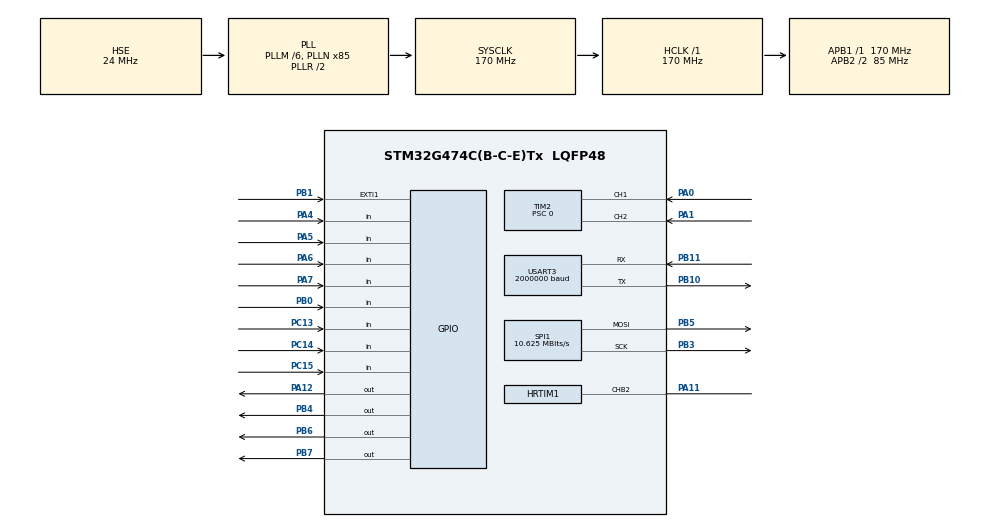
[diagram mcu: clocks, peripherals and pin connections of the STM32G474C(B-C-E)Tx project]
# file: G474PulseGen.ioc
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Dma.Request0=SPI1_TX
Dma.Request1=USART3_TX
Dma.SPI1_TX.0.Direction=DMA_MEMORY_TO_PERIPH
Dma.SPI1_TX.0.EventEnable=DISABLE
Dma.SPI1_TX.0.Instance=DMA1_Channel1
Dma.SPI1_TX.0.MemDataAlignment=DMA_MDATAALIGN_BYTE
Dma.SPI1_TX.0.MemInc=DMA_MINC_ENABLE
Dma.SPI1_TX.0.Mode=DMA_NORMAL
Dma.SPI1_TX.0.PeriphDataAlignment=DMA_PDATAALIGN_BYTE
Dma.SPI1_TX.0.PeriphInc=DMA_PINC_DISABLE
Dma.SPI1_TX.0.Polarity=HAL_DMAMUX_REQ_GEN_RISING
Dma.SPI1_TX.0.Priority=DMA_PRIORITY_LOW
Dma.SPI1_TX.0.RequestNumber=1
Dma.SPI1_TX.0.SignalID=NONE
Dma.SPI1_TX.0.SyncEnable=DISABLE
Dma.SPI1_TX.0.SyncPolarity=HAL_DMAMUX_SYNC_NO_EVENT
Dma.SPI1_TX.0.SyncRequestNumber=1
Dma.SPI1_TX.0.SyncSignalID=NONE
Dma.USART3_TX.1.Direction=DMA_MEMORY_TO_PERIPH
Dma.USART3_TX.1.EventEnable=DISABLE
Dma.USART3_TX.1.Instance=DMA1_Channel2
Dma.USART3_TX.1.MemDataAlignment=DMA_MDATAALIGN_BYTE
Dma.USART3_TX.1.MemInc=DMA_MINC_ENABLE
Dma.USART3_TX.1.Mode=DMA_NORMAL
Dma.USART3_TX.1.PeriphDataAlignment=DMA_PDATAALIGN_BYTE
Dma.USART3_TX.1.PeriphInc=DMA_PINC_DISABLE
Dma.USART3_TX.1.Polarity=HAL_DMAMUX_REQ_GEN_RISING
Dma.USART3_TX.1.Priority=DMA_PRIORITY_LOW
Dma.USART3_TX.1.RequestNumber=1
Dma.USART3_TX.1.SignalID=NONE
Dma.USART3_TX.1.SyncEnable=DISABLE
Dma.USART3_TX.1.SyncPolarity=HAL_DMAMUX_SYNC_NO_EVENT
Dma.USART3_TX.1.SyncRequestNumber=1
Dma.USART3_TX.1.SyncSignalID=NONE
HRTIM1.BurstMode-Output_TB2=HRTIM_TIMERBURSTMODE_MAINTAINCLOCK
HRTIM1.ChopperModeconfig-Output_TB2=__NULL
HRTIM1.CompareUnit1-Output_TB2=HRTIM_COMPAREUNIT_1
HRTIM1.CompareUnit2-Output_TB2=HRTIM_COMPAREUNIT_2
HRTIM1.CompareUnit3-Output_TB2=HRTIM_COMPAREUNIT_3
HRTIM1.CompareUnit4-Output_TB2=HRTIM_COMPAREUNIT_4
HRTIM1.CompareValue1-Output_TB2=0
HRTIM1.CompareValue2-Output_TB2=5435
HRTIM1.CompareValue3-Output_TB2=6000
HRTIM1.CompareValue4-Output_TB2=8000
HRTIM1.Enable=HRTIM_BURSTMODECTL_DISABLED
HRTIM1.Event4-Output_TB2=__NULL
HRTIM1.Event5-Output_TB2=__NULL
HRTIM1.EventEnableA-Output_TB2=__NULL
HRTIM1.Event_EEV1=__NULL
HRTIM1.Event_EEV2=__NULL
HRTIM1.Event_EEV3=__NULL
HRTIM1.Event_EEV4=__NULL
HRTIM1.Event_EEV5=__NULL
HRTIM1.ModeTimeBase-Output_TB2=HRTIM_MODE_SINGLESHOT
HRTIM1.NumberInterruptRequests-Output_TB2=0
HRTIM1.NumberResetSource2-Output_TB2=2
HRTIM1.NumberResetTrigger-Output_TB2=0
HRTIM1.NumberSetSource2-Output_TB2=2
HRTIM1.NumberUpdateTrigger-Output_TB2=0
HRTIM1.Periode_TB=65503
HRTIM1.Polarity2-Output_TB2=HRTIM_OUTPUTPOLARITY_HIGH
HRTIM1.PreloadEnable-Output_TB2=HRTIM_PRELOAD_DISABLED
HRTIM1.RepetitionCounter-Output_TB2=0
HRTIM1.RepetitionUpdate-Output_TB2=HRTIM_UPDATEONREPETITION_DISABLED
HRTIM1.ResetOnSync-Output_TB2=HRTIM_SYNCRESET_DISABLED
HRTIM1.ResetOutput2_Source1-Output_TB2=HRTIM_OUTPUTRESET_TIMCMP2
HRTIM1.ResetOutput2_Source2-Output_TB2=HRTIM_OUTPUTRESET_TIMCMP4
HRTIM1.ResetUpdate-Output_TB2=HRTIM_TIMUPDATEONRESET_DISABLED
HRTIM1.SetOutput2_Source1-Output_TB2=HRTIM_OUTPUTSET_TIMCMP1
HRTIM1.SetOutput2_Source2-Output_TB2=HRTIM_OUTPUTSET_TIMCMP3
HRTIM1.StartOnSync-Output_TB2=HRTIM_SYNCSTART_DISABLED
HRTIM1.SyncOptions=HRTIM_SYNCOPTION_NONE
Mcu.Family=STM32G4
Mcu.Name=STM32G474C(B-C-E)Tx
Mcu.Package=LQFP48
NVIC.DMA1_Channel1_IRQn=true\:0\:0\:false\:false\:true\:false\:true\:true
NVIC.DMA1_Channel2_IRQn=true\:3\:0\:true\:false\:true\:false\:true\:true
NVIC.EXTI1_IRQn=true\:0\:0\:false\:false\:true\:true\:true\:true
NVIC.HRTIM1_Master_IRQn=true\:0\:0\:false\:false\:true\:true\:true\:true
NVIC.HRTIM1_TIMB_IRQn=true\:0\:0\:false\:false\:true\:true\:true\:true
NVIC.PriorityGroup=NVIC_PRIORITYGROUP_4
NVIC.SPI1_IRQn=true\:0\:0\:false\:false\:true\:true\:true\:true
NVIC.TIM1_UP_TIM16_IRQn=true\:0\:0\:false\:false\:true\:true\:true\:true
NVIC.TIM5_IRQn=true\:0\:0\:false\:false\:true\:true\:true\:true
NVIC.TIM6_DAC_IRQn=true\:0\:0\:false\:false\:true\:true\:true\:true
NVIC.TIM7_DAC_IRQn=true\:0\:0\:false\:false\:true\:true\:true\:true
NVIC.USART3_IRQn=true\:3\:0\:true\:false\:true\:true\:true\:true
PA0.Signal=S_TIM2_CH1
PA1.Signal=S_TIM2_CH2
PA10.Signal=HRTIM1_CHB1
PA11.Mode=Output_TB2
PA11.Signal=HRTIM1_CHB2
PA12.PinState=GPIO_PIN_RESET
PA12.Signal=GPIO_Output
PA13.Mode=Serial_Wire
PA13.Signal=SYS_JTMS-SWDIO
PA14.Mode=Serial_Wire
PA14.Signal=SYS_JTCK-SWCLK
PA4.Signal=GPIO_Input
PA5.Signal=GPIO_Input
PA6.Signal=GPIO_Input
PA7.Signal=GPIO_Input
PA8.Signal=HRTIM1_CHA1
PA9.Signal=HRTIM1_CHA2
PB0.Signal=GPIO_Input
PB1.GPIO_ModeDefaultEXTI=GPIO_MODE_IT_FALLING
PB1.Signal=GPXTI1
PB10.GPIO_ModeDefaultPP=GPIO_MODE_AF_PP
PB10.GPIO_PuPd=GPIO_PULLUP
PB10.GPIO_Speed=GPIO_SPEED_FREQ_LOW
PB10.Mode=Asynchronous
PB10.Signal=USART3_TX
PB11.GPIO_ModeDefaultPP=GPIO_MODE_AF_PP
PB11.GPIO_PuPd=GPIO_PULLUP
PB11.GPIO_Speed=GPIO_SPEED_FREQ_LOW
PB11.Mode=Asynchronous
PB11.Signal=USART3_RX
PB14.Signal=HRTIM1_CHD1
PB15.Signal=HRTIM1_CHD2
PB3.Mode=TX_Only_Simplex_Unidirect_Master
PB3.Signal=SPI1_SCK
PB4.GPIO_Speed=GPIO_SPEED_FREQ_HIGH
PB4.Signal=GPIO_Output
PB5.Mode=TX_Only_Simplex_Unidirect_Master
PB5.Signal=SPI1_MOSI
PB6.GPIO_Speed=GPIO_SPEED_FREQ_HIGH
PB6.Signal=GPIO_Output
PB7.GPIO_Speed=GPIO_SPEED_FREQ_HIGH
PB7.Signal=GPIO_Output
PC13.Signal=GPIO_Input
PC14-OSC32_IN.Signal=GPIO_Input
PC15-OSC32_OUT.Signal=GPIO_Input
PF0-OSC_IN.Mode=HSE-External-Oscillator
PF0-OSC_IN.Signal=RCC_OSC_IN
PF1-OSC_OUT.Mode=HSE-External-Oscillator
PF1-OSC_OUT.Signal=RCC_OSC_OUT
ProjectManager.HeapSize=0x200
ProjectManager.StackSize=0x400
ProjectManager.TargetToolchain=CMake
RCC.ADC12Freq_Value=170000000
RCC.ADC345Freq_Value=170000000
RCC.AHBFreq_Value=170000000
RCC.APB1Freq_Value=170000000
RCC.APB1TimFreq_Value=170000000
RCC.APB2CLKDivider=RCC_HCLK_DIV2
RCC.APB2Freq_Value=85000000
RCC.APB2TimFreq_Value=170000000
RCC.CortexFreq_Value=170000000
RCC.EXTERNAL_CLOCK_VALUE=12288000
RCC.HCLKFreq_Value=170000000
RCC.HSE_VALUE=24000000
RCC.HSI48_VALUE=48000000
RCC.HSI_VALUE=16000000
RCC.LSE_VALUE=32768
RCC.PLLM=RCC_PLLM_DIV6
RCC.PLLN=85
RCC.PLLSourceVirtual=RCC_PLLSOURCE_HSE
RCC.SYSCLKFreq_VALUE=170000000
RCC.SYSCLKSource=RCC_SYSCLKSOURCE_PLLCLK
RCC.USBFreq_Value=170000000
RCC.VCOOutputFreq_Value=340000000
SH.S_TIM2_CH1.0=TIM2_CH1,Encoder_Interface
SH.S_TIM2_CH2.0=TIM2_CH2,Encoder_Interface
SPI1.BaudRatePrescaler=SPI_BAUDRATEPRESCALER_8
SPI1.CalculateBaudRate=10.625 MBits/s
SPI1.DataSize=SPI_DATASIZE_8BIT
SPI1.Direction=SPI_DIRECTION_2LINES
SPI1.Mode=SPI_MODE_MASTER
SPI1.VirtualType=VM_MASTER
TIM16.PeriodNoDither=40000
TIM16.Prescaler=2719
TIM2.IC1Polarity=TIM_ICPOLARITY_FALLING
TIM2.Prescaler=0
TIM5.AutoReloadPreload=TIM_AUTORELOAD_PRELOAD_ENABLE
TIM5.Channel-Output\ Compare1\ No\ Output=TIM_CHANNEL_1
TIM6.PeriodNoDither=55554
TIM6.Prescaler=33
TIM7.PeriodNoDither=33999
TIM7.Prescaler=4
USART3.BaudRate=2000000
USART3.DMADisableonRxErrorParam=ADVFEATURE_DMA_ENABLEONRXERROR
USART3.OverrunDisableParam=ADVFEATURE_OVERRUN_ENABLE
USART3.VirtualMode-Asynchronous=VM_ASYNC
VP_SYS_VS_DBSignals.Mode=DisableDeadBatterySignals
VP_TIM16_VS_ClockSourceINT.Mode=Enable_Timer
VP_TIM5_VS_ClockSourceINT.Mode=Internal
VP_TIM5_VS_no_output1.Mode=Output Compare1 No Output
VP_TIM6_VS_ClockSourceINT.Mode=Enable_Timer
VP_TIM7_VS_ClockSourceINT.Mode=Enable_Timer
board=custom

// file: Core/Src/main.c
/* USER CODE BEGIN Header */
/**
  ******************************************************************************
  * @file           : main.c
  * @brief          : Main program body
  ******************************************************************************
  * @attention
  *
  * Copyright (c) 2025 STMicroelectronics.
  * All rights reserved.
  *
  * This software is licensed under terms that can be found in the LICENSE file
  * in the root directory of this software component.
  * If no LICENSE file comes with this software, it is provided AS-IS.
  *
  ******************************************************************************
  */
/* USER CODE END Header */
#include "main.h"
#include "dma.h"
#include "hrtim.h"
#include "spi.h"
#include "tim.h"
#include "usart.h"
#include "gpio.h"

/* USER CODE BEGIN Includes */
#include "OLED.h"
#include "WouoUI.h"
#include "WouoUI_user.h"
#include "Key.h"
#include "Pulse.h"
#include "usart.h"
#include "uart_comm.h"
/* USER CODE END Includes */

/* USER CODE BEGIN PV */
/* 以下三个标志仅 main.c 内部使用 (定时器 ISR 与主循环同属一个编译单元),
 * 加 static 不影响其 volatile 语义 —— volatile 保证不被缓存, static 只改变
 * 链接可见性, 两者相互独立。 */
static volatile bool display_update_flag = 1;
static volatile bool waiting_for_trg_flag = 0;
static volatile bool triggered = 0;
volatile bool g_12v_enable = true;       /* 12V_OUT 手动开关状态 (Setting 页切换, 默认使能);
                                            被 uart_comm.c 与 WouoUI_user.c 引用, 不可加 static */

/* 注: 原此处有 7 条 UI Option[] 数组的 extern, 与 WouoUI_user.h 中的声明完全
 * 重复 (本文件已 include WouoUI_user.h), 已删除。 */
/* 计数器差分 (仅本文件使用) */
static int32_t last_count = 0;
static int32_t current_count = 0;
static int32_t diff = 0;
// volatile bool OLED_UPDATE_DONE = true;
/* USER CODE END PV */

void SystemClock_Config(void);

int main(void)
{

  /* MCU Configuration--------------------------------------------------------*/

  /* Reset of all peripherals, Initializes the Flash interface and the Systick. */
  HAL_Init();

  /* Configure the system clock */
  SystemClock_Config();

  /* Initialize all configured peripherals */
  MX_GPIO_Init();
  MX_DMA_Init();
  MX_HRTIM1_Init();
  MX_TIM2_Init();
  MX_SPI1_Init();
  MX_TIM6_Init();
  MX_TIM7_Init();
  MX_TIM16_Init();
  MX_TIM5_Init();
  MX_USART3_UART_Init();
  /* USER CODE BEGIN 2 */

  HAL_TIM_Base_Start_IT(&htim6); //打开为屏幕定时刷新的定时器中断
  HAL_TIM_Base_Start_IT(&htim7); //打开为按键定时刷新的定时器中断
  HAL_TIM_Base_Start_IT(&htim16); //打开为输出状态刷新的定时器中断
  HAL_TIM_Encoder_Start(&htim2, TIM_CHANNEL_ALL);
  // 触发中断拉到最高优先级 0
  HAL_NVIC_SetPriority(EXTI1_IRQn, 0, 0);
  // 长脉冲软件翻转次之
  HAL_NVIC_SetPriority(TIM5_IRQn, 1, 0);
  // 按键与状态检测
  HAL_NVIC_SetPriority(TIM7_DAC_IRQn, 2, 0);
  HAL_NVIC_SetPriority(TIM1_UP_TIM16_IRQn, 2, 1);
  // USART3 接收(SCPI 命令): 提至优先级 2, 高于刷屏(3), 防 2Mbps 下 RXNE 被刷屏中断抢占致 ORE 丢字节
  HAL_NVIC_SetPriority(USART3_IRQn, 2, 0);
  // 刷屏与 DMA 降至最低优先级 3，绝不阻塞发波
  HAL_NVIC_SetPriority(DMA1_Channel1_IRQn, 3, 0);
  HAL_NVIC_SetPriority(SPI1_IRQn, 3, 1);
  HAL_NVIC_SetPriority(TIM6_DAC_IRQn, 3, 2);

  OLED_Init();
  WouoUI_AttachSendBuffFun(OLED_Update_DisplayBuf);

  TestUI_Init();

  /* Y7 SYNC OUT (Timer C CH2) + Y8 帧标记 + PRF 猝发重复时基 (TIM3) 初始化 */
  Pulse_Sync_Init();
  Pulse_BurstPRF_Init();
  Pulse_Fault_Init();    /* PA15 = HRTIM_FLT2 硬件故障封锁 */
  UartComm_Init();       /* PC 通信协议层初始化 (镜像推流 + SCPI + 虚拟按键) */

  // 默认保持 12V 负载开关关断，待供电稳定后再开启
  LOADSW_DISABLE();
  /* USER CODE END 2 */

  /* Infinite loop */
  while (1)
  {

    /* USER CODE BEGIN 3 */
    /* 硬件 Fault 发生后: ISR 只置标志, 此处做 UI 收尾 (关 Enable 按钮 + 弹窗) */
    if (g_fault_flag)
    {
      g_fault_flag = false;
      Pulse_Fault_HandleUI();
    }

    /* 12V_OUT 互锁 (与逻辑): 只有「LTC4421 检测到任一电源有效」且「用户已使能」
     * 两者同时成立时才导通 PA12; 任一不成立立即关断 (安全优先)。
     *
     * 电气极性 (严格对应 HARDWARE.md §5.3):
     *   - LTC_IS_ANY_PWR_VALID() = PC14/PC15 读到 HIGH 即有效 (经 Q6/Q7 倒相后接入);
     *   - LOADSW_ENABLE()        = PA12 输出 HIGH 才导通 (TPS22810 高有效)。
     *   注意这里的极性关系是"电源有效为高、开关使能为高", 不要凭 MAX6818 或
     *   LTC4421 的其它状态脚极性类比推断。
     *
     * 响应速度: 本处是**掉电场景唯一**的切断点, 且只能做到主循环级延迟 (非 ISR 级)。
     * ns 级的波形保护由 HRTIM FLT2 硬件路径 + Pulse_EmergencyStop() 承担, 两者
     * 场景不同: 本处负责"电源本身掉电", 硬件 Fault 负责"外部故障信号拉低 PA15"。
     *
     * g_12v_enable 由 UI (Setting 页) 与 SCPI (12V:ON/OFF) 写入, 故为 volatile。 */
    if (LTC_IS_ANY_PWR_VALID() && g_12v_enable)
    {
      LOADSW_ENABLE();
    }
    else
    {
      LOADSW_DISABLE();
    }

    /* PC 通信处理: 无条件每轮调用 (便宜: 64B 消费上限 + 滚动风暴窗 + 镜像节流),
     * 与显示刷新解耦 —— 屏幕卡住时 SCPI/ACK 仍能响应 */
    UartComm_Proc();

    if (Key_Check(K_UP, KEY_DOWN) || Key_Check(K_UP, KEY_REPEAT))
    {
      WOUOUI_MSG_QUE_SEND(msg_up);
    }
    if (Key_Check(K_DOWN, KEY_DOWN) || Key_Check(K_DOWN, KEY_REPEAT))
    {
      WOUOUI_MSG_QUE_SEND(msg_down);
    }
    if (Key_Check(K_LEFT, KEY_DOWN) || Key_Check(K_LEFT, KEY_REPEAT))
    {
      WOUOUI_MSG_QUE_SEND(msg_left);
    }
    if (Key_Check(K_RIGHT, KEY_DOWN) || Key_Check(K_RIGHT, KEY_REPEAT))
    {
      WOUOUI_MSG_QUE_SEND(msg_right);
    }
    if (Key_Check(K_PRESS, KEY_SINGLE) || Key_Check(K_ENC, KEY_SINGLE))
    {
      WOUOUI_MSG_QUE_SEND(msg_click);
    }
    if (Key_Check(K_PRESS, KEY_LONG) || Key_Check(K_ENC, KEY_LONG))
    {
      WOUOUI_MSG_QUE_SEND(msg_return);
    }

    //每秒运行90次
    if (display_update_flag == 1)
    {
      current_count = __HAL_TIM_GET_COUNTER(&htim2);
      diff = current_count - last_count;

      if (diff >= 2)
      {
        // 向前旋转，模拟“向上按键”按下/释放事件
        WOUOUI_MSG_QUE_SEND(msg_left);
        last_count = current_count; // 更新基准值
      }
      else if (diff <= -2)
      {
        // 向后旋转，模拟“向下按键”按下/释放事件
        WOUOUI_MSG_QUE_SEND(msg_right);
        last_count = current_count; // 更新基准值
      }

      //清除屏幕
      // OLED_Clear();
      WouoUI_Proc(10);
      // 使用可以显示中英文混合字符串的函数，中文使用12X12的字体，英文使用7X12的字体
      // OLED_PrintfMix(0, 0,OLED_12X12_FULL,OLED_7X12_HALF,"你好,HI. CFS");

      if (g_pulse_out_enabled && triggered && (g_pulse_mode == PULSE_MODE_NPULSE))
        n_pulse_option_array[8].text = (char *)"--->TRIGGERED<---";
      if (g_pulse_out_enabled && triggered && (g_pulse_mode == PULSE_MODE_NPULSE_LONG))
        n_pulse_long_option_array[7].text = (char *)"--->TRIGGERED<---";
      if (g_pulse_out_enabled && triggered && (g_pulse_mode == PULSE_MODE_DPULSE))
        double_pulse_option_array[7].text = (char *)"--->TRIGGERED<---";

      display_update_flag = 0;
    }
  }
  /* USER CODE END 3 */
}

void SystemClock_Config(void)
{
  RCC_OscInitTypeDef RCC_OscInitStruct = {0};
  RCC_ClkInitTypeDef RCC_ClkInitStruct = {0};

  /** Configure the main internal regulator output voltage
  */
  HAL_PWREx_ControlVoltageScaling(PWR_REGULATOR_VOLTAGE_SCALE1_BOOST);

  /** Initializes the RCC Oscillators according to the specified parameters
  * in the RCC_OscInitTypeDef structure.
  */
  RCC_OscInitStruct.OscillatorType = RCC_OSCILLATORTYPE_HSE;
  RCC_OscInitStruct.HSEState = RCC_HSE_ON;
  RCC_OscInitStruct.PLL.PLLState = RCC_PLL_ON;
  RCC_OscInitStruct.PLL.PLLSource = RCC_PLLSOURCE_HSE;
  RCC_OscInitStruct.PLL.PLLM = RCC_PLLM_DIV6;
  RCC_OscInitStruct.PLL.PLLN = 85;
  RCC_OscInitStruct.PLL.PLLP = RCC_PLLP_DIV2;
  RCC_OscInitStruct.PLL.PLLQ = RCC_PLLQ_DIV2;
  RCC_OscInitStruct.PLL.PLLR = RCC_PLLR_DIV2;
  if (HAL_RCC_OscConfig(&RCC_OscInitStruct) != HAL_OK)
  {
    Error_Handler();
  }

  /** Initializes the CPU, AHB and APB buses clocks
  */
  RCC_ClkInitStruct.ClockType = RCC_CLOCKTYPE_HCLK|RCC_CLOCKTYPE_SYSCLK
                              |RCC_CLOCKTYPE_PCLK1|RCC_CLOCKTYPE_PCLK2;
  RCC_ClkInitStruct.SYSCLKSource = RCC_SYSCLKSOURCE_PLLCLK;
  RCC_ClkInitStruct.AHBCLKDivider = RCC_SYSCLK_DIV1;
  RCC_ClkInitStruct.APB1CLKDivider = RCC_HCLK_DIV1;
  RCC_ClkInitStruct.APB2CLKDivider = RCC_HCLK_DIV2;

  if (HAL_RCC_ClockConfig(&RCC_ClkInitStruct, FLASH_LATENCY_4) != HAL_OK)
  {
    Error_Handler();
  }
}

/* USER CODE BEGIN 4 */
/* 手动触发发波: 物理 TRG 按键 (HAL_GPIO_EXTI_Callback) 与 SCPI TRIG (uart_comm.c) 共用,
 * 保证两种触发路径走完全相同的逻辑 (含 N 长脉冲的 TIM5 触发与 TRIGGERED 状态显示) */
void Trigger_Pulse(void)
{
    if (g_pulse_out_enabled && g_pulse_mode == PULSE_MODE_NPULSE)
    {
      /* 短脉冲 N 脉冲: 记录本次突发脉冲个数, 首个脉冲由下方 TxRST 触发, 后续由 CMP4 中断重发 */
      Pulse_nPulse_OnTrigger((uint32_t)n_pulse_option_array[4].val);
      Pulse_Frame_SetActive();   /* 帧标记: 猝发开始 */
    }

    if (g_pulse_out_enabled && g_pulse_mode == PULSE_MODE_NPULSE_LONG)
    {
      /* N 长脉冲: 触发一次脉冲串 (剩余脉冲计数 = 用户设置的 Pulse Count) */
      Pulse_nPulseLong_OnTrigger((uint32_t)n_pulse_long_option_array[4].val);
      Pulse_Frame_SetActive();   /* 帧标记: 猝发开始 */
    }

    /* 波形定时器 + SYNC Timer C 同一写操作复位, 保证首脉冲与 SYNC 沿 ns 级对齐。
     * N 长脉冲走 TIM5 (已由 Pulse_nPulseLong_OnTrigger 启动); 此处复位 HRTIM 供
     * 短脉冲/双脉冲使用, 并输出一次 SYNC 同步脉冲 */
    Pulse_TriggerFireAll();

    triggered = 1;    /* 置触发标志: 主循环据此显示 "--->TRIGGERED<---" */
    TIM16->CNT = 0;   /* 复位状态刷新定时器, 立即刷新触发状态文本 */
}

/**
 * @brief  定时器更新中断统一回调 (4 个定时器的分支汇合点)
 * @param  htim  触发本次更新的定时器句柄
 *
 * @note   四个分支的职责与节拍 (周期值均在 tim.c 中, 按 170MHz 定时器时钟换算):
 *           TIM6  PSC=33 / ARR=55554   → ~90Hz     置 display_update_flag, 驱动 OLED 刷新节拍
 *           TIM7  PSC=169 / ARR=9999   → 100Hz(10ms) 调用 Key_Tick(), 按键扫描状态机
 *           TIM16 PSC=2719 / ARR=40000 → ~1.56Hz   刷新 N 脉冲页的状态文本
 *                                                   (--BURST RUNNING-- / --OUTPUT DISABLED-- 等)
 *           TIM5  PSC=0, ARR 由运行时设定 → 最长长脉冲的周期起点处理
 *                                            (PWM_LONG / 互补 lPWM)
 *
 * @warning 本回调在**中断上下文**执行, 全部分支都不得加入阻塞调用、动态内存
 *          或耗时绘制。OLED 实际绘制发生在主循环 (消费 display_update_flag),
 *          这里只置标志。
 * @note    HAL 回调签名由 HAL 库固定, 不可修改 (改动会导致 HAL 无法路由)。
 */
void HAL_TIM_PeriodElapsedCallback(TIM_HandleTypeDef *htim)
{
  if(htim->Instance == TIM6) // 检查对应定时器
  {
    display_update_flag = 1;
  }
  if(htim->Instance == TIM7)
  {
    Key_Tick();
  }
  if(htim->Instance == TIM16)
  {
    if (g_pulse_mode == PULSE_MODE_NPULSE)
    {
      if (n_pulse_option_array[6].val > 0)
      {
        /* Burst 模式 (PRF > 0): 周期猝发自动运行, 不再等待触发 */
        if (g_pulse_out_enabled)
          n_pulse_option_array[8].text = (char *)"--BURST RUNNING--";
        else
          n_pulse_option_array[8].text = (char *)"--OUTPUT DISABLED--";
      }
      else if (g_pulse_out_enabled)
      {
        if (waiting_for_trg_flag)
          n_pulse_option_array[8].text = (char *)"-WAITING FOR TRIG-";
        else
          n_pulse_option_array[8].text = (char *)"                  ";
      }
      else
      {
        n_pulse_option_array[8].text = (char *)"--OUTPUT DISABLED--";
      }
    }
    else if (g_pulse_mode == PULSE_MODE_NPULSE_LONG)
    {
      if (g_pulse_out_enabled)
      {
        if (waiting_for_trg_flag)
          n_pulse_long_option_array[7].text = (char *)"-WAITING FOR TRIG-";
        else
          n_pulse_long_option_array[7].text = (char *)"                  ";
      }
      else
      {
        n_pulse_long_option_array[7].text = (char *)"--OUTPUT DISABLED--";
      }
    }
    else if (g_pulse_mode == PULSE_MODE_DPULSE)
    {
      if (g_pulse_out_enabled)
      {
        if (waiting_for_trg_flag)
          double_pulse_option_array[7].text = (char *)"-WAITING FOR TRIG-";
        else
          double_pulse_option_array[7].text = (char *)"                  ";
      }
      else
      {
        double_pulse_option_array[7].text = (char *)"--OUTPUT DISABLED--";
      }
    }
    else if (g_pulse_mode == PULSE_MODE_PWM)
    {
      if (g_pulse_out_enabled)
        pwm_option_array[6].text = (char *)"--OUTPUT ENABLED--";
      else
        pwm_option_array[6].text = (char *)"--OUTPUT DISABLED--";
    }
    else if (g_pulse_mode == PULSE_MODE_PWM_LONG)
    {
      if (g_pulse_out_enabled)
        pwm_long_option_array[6].text = (char *)"--OUTPUT ENABLED--";
      else
        pwm_long_option_array[6].text = (char *)"--OUTPUT DISABLED--";
    }
    else if (g_pulse_mode == PULSE_MODE_COMP_PWM)
    {
      if (g_pulse_out_enabled)
        comp_pwm_option_array[7].text = (char *)"--OUTPUT ENABLED--";
      else
        comp_pwm_option_array[7].text = (char *)"--OUTPUT DISABLED--";
    }
    else if (g_pulse_mode == PULSE_MODE_COMP_PWM_LONG)
    {
      if (g_pulse_out_enabled)
        comp_pwm_long_option_array[6].text = (char *)"--OUTPUT ENABLED--";
      else
        comp_pwm_long_option_array[6].text = (char *)"--OUTPUT DISABLED--";
    }
    waiting_for_trg_flag = !waiting_for_trg_flag;
    triggered = 0;
  }
  if(htim->Instance == TIM5)
  {
    if (g_pulse_out_enabled && g_pulse_mode == PULSE_MODE_NPULSE_LONG)
    {
      /* N 长脉冲: 周期溢出, 交由 Pulse 模块维护剩余脉冲计数与引脚电平 */
      Pulse_nPulseLong_OnPeriodElapsed();
    }
    else if (g_pulse_out_enabled && g_pulse_mode == PULSE_MODE_PWM_LONG)
    {
      /* 周期起点：拉高置为有效电平 */
      if (lpwm_ccr > 0)
      {
        if (g_pulse_polarity == PULSE_POLARITY_HIGH)
          Pulse_GetLongPulsePort()->BSRR = Pulse_GetLongPulsePin();
        else if (g_pulse_polarity == PULSE_POLARITY_LOW)
          Pulse_GetLongPulsePort()->BSRR = (uint32_t)Pulse_GetLongPulsePin() << 16U;
      }
    }
    else if (g_pulse_out_enabled && g_pulse_mode == PULSE_MODE_COMP_PWM_LONG)
    {
      /* 超长互补 PWM: 周期起点先关断互补路, 主路待 CC3 死区点再开启 */
      Pulse_CompLPWM_OnPeriodElapsed();
    }
  }
}

void HAL_TIM_OC_DelayElapsedCallback(TIM_HandleTypeDef *htim)
{
  if (htim->Instance == TIM5)
  {
    if (g_pulse_mode == PULSE_MODE_COMP_PWM_LONG)
    {
      /* 超长互补 PWM: CC1=占空比(主路关), CC2=占空比+死区(互补开), CC3=死区(主路开) */
      if (htim->Channel == HAL_TIM_ACTIVE_CHANNEL_1)
        Pulse_CompLPWM_OnDuty();
      else if (htim->Channel == HAL_TIM_ACTIVE_CHANNEL_2)
        Pulse_CompLPWM_OnCompOn();
      else if (htim->Channel == HAL_TIM_ACTIVE_CHANNEL_3)
        Pulse_CompLPWM_OnMainOn();
    }
    else if (htim->Channel == HAL_TIM_ACTIVE_CHANNEL_1)
    {
      if (g_pulse_mode == PULSE_MODE_NPULSE_LONG)
      {
        /* N 长脉冲: 比较匹配(脉宽到达), 拉低引脚 */
        Pulse_nPulseLong_OnCompareMatch();
      }
      else if (g_pulse_mode == PULSE_MODE_PWM_LONG)
      {
        /* 比较匹配点：拉低置为无效电平 */
        if (lpwm_ccr < lpwm_arr)
        {
          if (g_pulse_polarity == PULSE_POLARITY_HIGH)
            Pulse_GetLongPulsePort()->BSRR = (uint32_t)Pulse_GetLongPulsePin() << 16U;
          else if (g_pulse_polarity == PULSE_POLARITY_LOW)
            Pulse_GetLongPulsePort()->BSRR = Pulse_GetLongPulsePin();
        }
      }
    }
  }
}

void HAL_GPIO_EXTI_Callback(uint16_t GPIO_Pin)
{
  if(GPIO_Pin == KEY_TRG_Pin)
  {
    Trigger_Pulse();   /* 物理 TRG 按键与 SCPI TRIG 共用同一触发路径 */
  }
}

// void HAL_COMP_TriggerCallback(COMP_HandleTypeDef *hcomp)
// {
//   if(hcomp->Instance == COMP1)
//   {
//     triggered = 1;
//     TIM16->CNT = 0;
//
//   }
// }

void HAL_HRTIM_Compare4EventCallback(HRTIM_HandleTypeDef *hhrtim, uint32_t TimerIdx)
{
  (void)hhrtim;
  (void)TimerIdx;
  /* 短脉冲 N 脉冲: CMP4 周期结束, 维护剩余计数并重发下一脉冲 */
  if (g_pulse_mode == PULSE_MODE_NPULSE)
  {
    Pulse_nPulse_OnPeriodEnd();
  }
}
void HAL_SPI_TxCpltCallback(SPI_HandleTypeDef *hspi)
{
    OLED_SPI_TxCpltCallback(hspi);
}
/* USER CODE END 4 */

void Error_Handler(void)
{
  /* USER CODE BEGIN Error_Handler_Debug */
  /* User can add his own implementation to report the HAL error return state */
  Pulse_EmergencyStop(); // 发生异常时硬件级瞬间关断 HRTIM 全部发波与 12V 负载输出
  __disable_irq();
  while (1)
  {
  }
  /* USER CODE END Error_Handler_Debug */
}
